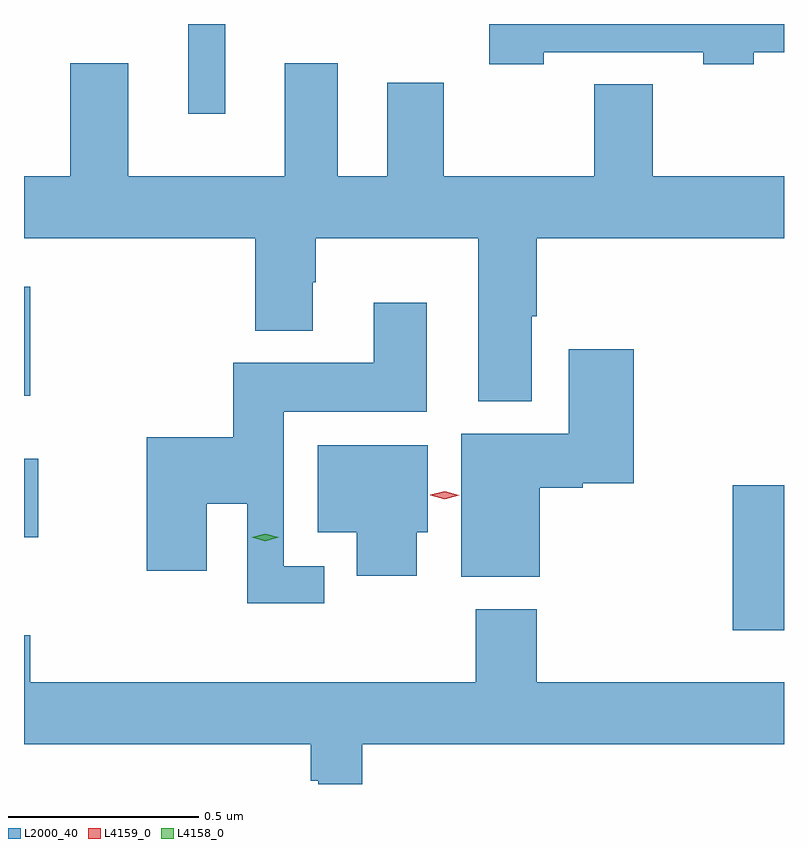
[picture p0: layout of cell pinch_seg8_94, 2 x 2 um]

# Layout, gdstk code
import gdstk
lib = gdstk.Library(unit=1e-6, precision=1e-09)
def R(c, l, rs):  # rectangles x0, y0, x1, y1
    for r in rs: c.add(gdstk.rectangle(r[:2], r[2:], *l))
def P(c, l, *ps):  # polygons
    for p in ps: c.add(gdstk.Polygon(p, *l))
L2000_40 = (2000, 40)
L4158_0 = (4158, 0)
L4159_0 = (4159, 0)

pinch_seg8_94 = lib.new_cell('pinch_seg8_94')
R(pinch_seg8_94, L2000_40, [(1079.528,1118.133,1079.663,1118.514), (1077.663,1118.378,1077.7,1118.584), (1077.663,1118.75,1077.68,1119.037), (1078.095,1119.492,1078.192,1119.728)])
P(pinch_seg8_94, L2000_40, [(1079.031,1119.654),(1079.451,1119.654),(1079.451,1119.622),(1079.583,1119.622),(1079.583,1119.654),(1079.663,1119.654),(1079.663,1119.728),(1078.887,1119.728),(1078.887,1119.622),(1079.031,1119.622)],
  [(1078.349,1119.625),(1078.349,1119.328),(1077.937,1119.328),(1077.937,1119.625),(1077.785,1119.625),(1077.785,1119.328),(1077.663,1119.328),(1077.663,1119.164),(1078.271,1119.164),(1078.271,1118.921),(1078.423,1118.921),(1078.423,1119.048),(1078.431,1119.048),(1078.431,1119.164),(1078.859,1119.164),(1078.859,1118.735),(1078.999,1118.735),(1078.999,1118.959),(1079.012,1118.959),(1079.012,1119.164),(1079.663,1119.164),(1079.663,1119.328),(1079.318,1119.328),(1079.318,1119.569),(1079.164,1119.569),(1079.164,1119.328),(1078.767,1119.328),(1078.767,1119.574),(1078.619,1119.574),(1078.619,1119.328),(1078.489,1119.328),(1078.489,1119.625)],
  [(1078.453,1118.301),(1078.347,1118.301),(1078.347,1118.708),(1078.723,1118.708),(1078.723,1118.995),(1078.583,1118.995),(1078.583,1118.836),(1078.214,1118.836),(1078.214,1118.641),(1077.986,1118.641),(1077.986,1118.289),(1078.144,1118.289),(1078.144,1118.465),(1078.251,1118.465),(1078.251,1118.204),(1078.453,1118.204)],
  [(1079.02,1118.507),(1079.133,1118.507),(1079.133,1118.519),(1079.267,1118.519),(1079.267,1118.872),(1079.096,1118.872),(1079.096,1118.65),(1078.814,1118.65),(1078.814,1118.273),(1079.02,1118.273)],
  [(1078.696,1118.39),(1078.726,1118.39),(1078.726,1118.62),(1078.436,1118.62),(1078.436,1118.39),(1078.538,1118.39),(1078.538,1118.276),(1078.696,1118.276)],
  [(1078.553,1117.832),(1079.663,1117.832),(1079.663,1117.996),(1079.012,1117.996),(1079.012,1118.188),(1078.852,1118.188),(1078.852,1117.996),(1077.68,1117.996),(1077.68,1118.12),(1077.663,1118.12),(1077.663,1117.832),(1078.417,1117.832),(1078.417,1117.736),(1078.437,1117.736),(1078.437,1117.728),(1078.553,1117.728)])
P(pinch_seg8_94, L4158_0, [(1078.298,1118.367),(1078.262,1118.377),(1078.262,1118.377),(1078.262,1118.378),(1078.298,1118.387),(1078.334,1118.378),(1078.334,1118.377),(1078.334,1118.377)])
P(pinch_seg8_94, L4159_0, [(1078.77,1118.478),(1078.732,1118.488),(1078.732,1118.489),(1078.732,1118.489),(1078.77,1118.498),(1078.808,1118.488),(1078.809,1118.488),(1078.808,1118.488)])

lib.write_gds('pinch_seg8_94.gds')
